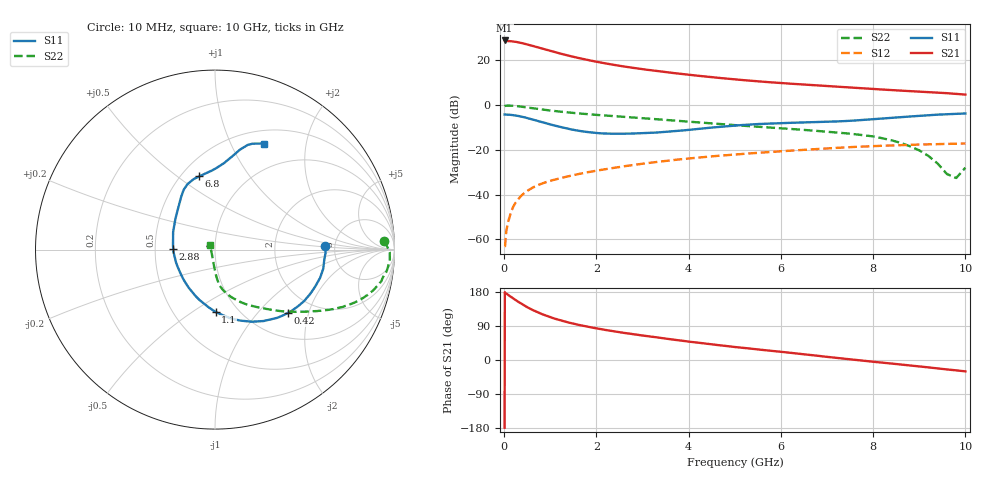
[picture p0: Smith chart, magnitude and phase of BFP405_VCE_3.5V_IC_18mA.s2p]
! Infineon Technologies  Discrete & RF Semiconductors
! BFP405
! VCE =  3.5 V,  IC =  18 mA
! Common Emitter S-Parameters:  Jan 2016
# GHz  S  MA  R  50
!  f  S11  S21  S12  S22
! GHz  MAG  ANG  MAG  ANG  MAG  ANG  MAG  ANG
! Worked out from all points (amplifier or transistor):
!   233 points, 10 MHz to 10 GHz, reference 50 ohm
!   highest |S21| = 28.9 dB at 10 MHz (marker M1)
!   |S21| within 3 dB of that: start of sweep to 715.1 MHz
!   unconditionally stable (mu >= 1): start of sweep to 21.05 MHz; 2.045 GHz to end of sweep
!   at 200 MHz: K = 0.23, MSG = 36.9 dB, |S12| = -45.4 dB
!   at 1.74 GHz: K = 0.92, MSG = 25.4 dB, |S12| = -30.3 dB
!   at 10 GHz: K = 1.35, MAG = 7.4 dB, |S12| = -17.2 dB
!   S11 on the Smith chart (normalised r, x): 10 MHz: 4.17, +0.29; 420 MHz: 1.50, -1.48; 1.1 GHz: 0.79, -0.62; 2.88 GHz: 0.62, +0.00; 6.8 GHz: 0.61, +0.60; 10 GHz: 0.66, +1.34
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0.01  0.6149 2.0  27.91 -178.8  0.0007 119.7  0.9446 3.0
0.02  0.6164 -1.5  27.59 177.0  0.0007 110.2  0.962 0.7
0.05  0.6115 -5.0  27.17 175.2  0.0016 78.0  0.9735 -0.8
0.1  0.6124 -10.0  27.13 170.6  0.0027 85.3  0.9757 -3.2
0.195  0.5957 -19.8  26.43 162.7  0.0053 81.1  0.964 -7.1
0.3  0.5733 -30.0  25.43 154.1  0.0077 77.5  0.9432 -10.8
0.42  0.5385 -40.8  23.88 144.9  0.0104 74.0  0.9093 -14.5
0.5  0.5147 -47.6  22.8 139.4  0.012 72.0  0.8864 -16.6
0.6  0.4817 -55.7  21.33 132.9  0.0139 69.9  0.8578 -18.9
0.7  0.4511 -63.0  19.96 127.3  0.0157 68.3  0.8299 -20.9
0.9  0.3945 -76.8  17.45 117.2  0.0188 65.8  0.779 -24.2
1.1  0.3474 -89.5  15.31 108.9  0.0216 64.3  0.7361 -26.8
1.38  0.2963 -105.9  12.88 99.4  0.0254 63.0  0.6861 -29.7
1.68  0.2604 -122.9  10.92 91.0  0.0296 61.9  0.6427 -32.3
2.2  0.2309 -150.4  8.54 79.2  0.0369 59.9  0.5842 -36.3
2.88  0.2326 179.6  6.619 66.8  0.047 56.5  0.5207 -41.5
3.4  0.2475 160.6  5.635 58.2  0.0549 53.2  0.4746 -45.5
5.1  0.3545 121.6  3.683 33.1  0.08 40.5  0.3504 -60.3
6.8  0.4172 102.1  2.748 11.1  0.1046 27.1  0.2639 -73.3
8.4  0.5194 80.4  2.165 -9.4  0.1252 12.3  0.1631 -86.0
9.8  0.6373 67.9  1.781 -27.3  0.1371 0.5  0.0234 173.6
10  0.6498 65.4  1.718 -30.0  0.1385 -1.0  0.0398 136.0
